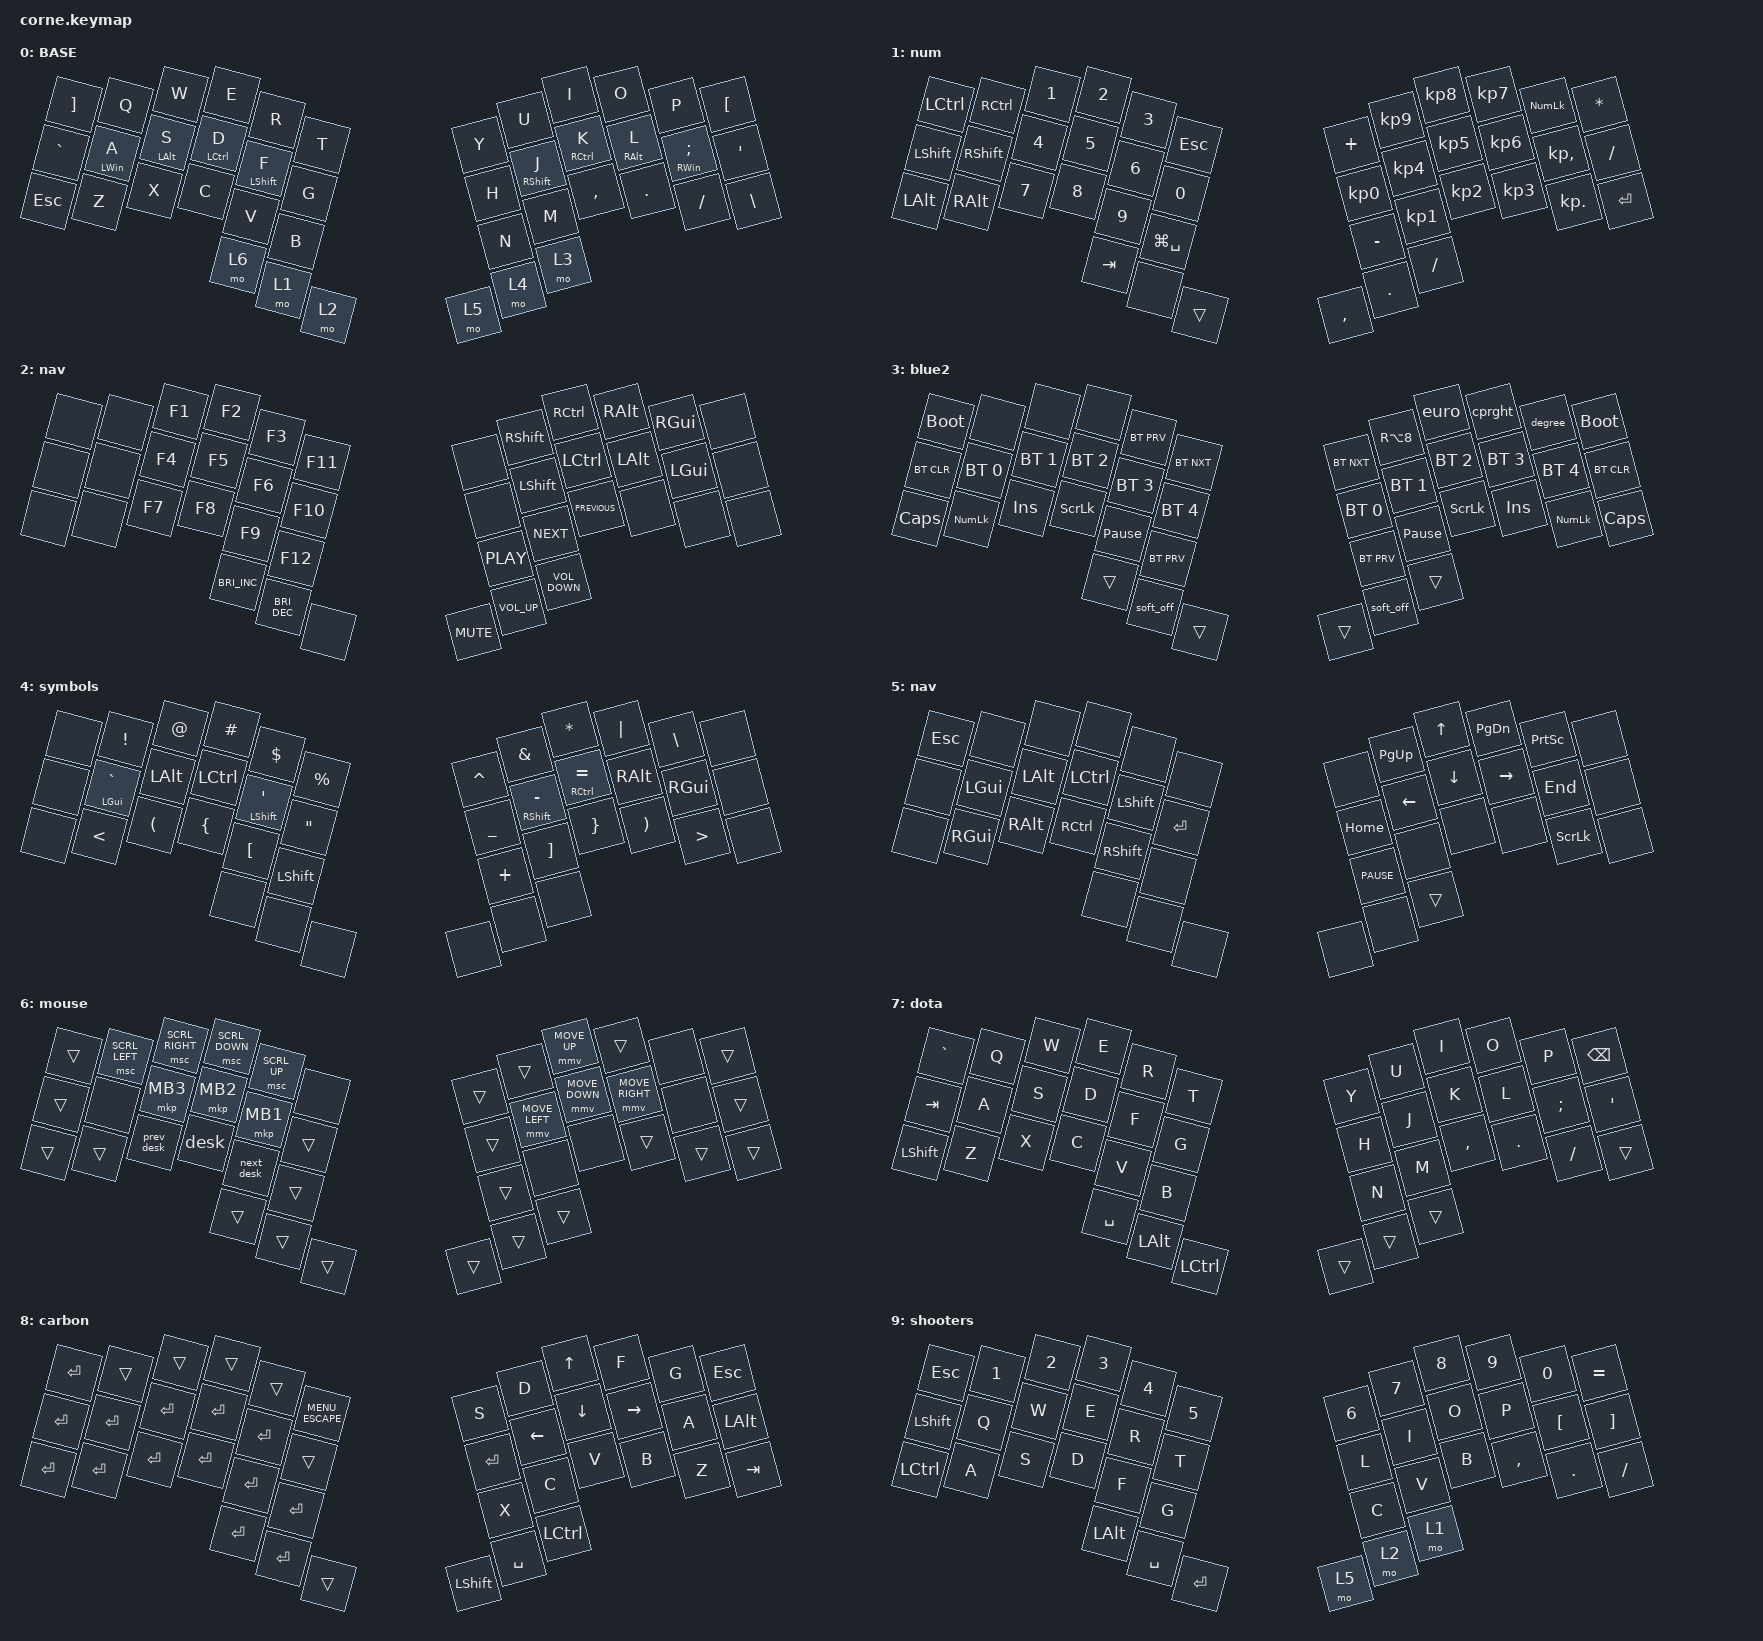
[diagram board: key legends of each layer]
/*
 * Copyright (c) 2020 The ZMK Contributors
 *
 * SPDX-License-Identifier: MIT
 */

#include "mouse.dtsi"
#include <input/processors.dtsi>
#include <dt-bindings/zmk/mouse.h>
#include <behaviors.dtsi>
#include <dt-bindings/zmk/bt.h>
#include <dt-bindings/zmk/keys.h>
#include <dt-bindings/zmk/pointing.h>
#include <dt-bindings/zmk/pointing.h>
#include <dt-bindings/zmk/pointing.h>

#define BASE   0
#define LOWER  1
#define RAISE  2
#define ADJUST 3

&lt { quick_tap_ms = <220>; };

&msc_input_listener { input-processors = <&zip_temp_layer 2 2000>; };

&msc {
    trigger-period-ms = <12>;
    delay-ms = <15>;
    time-to-max-speed-ms = <600>;
    acceleration-exponent = <1>;
};

&mt { quick_tap_ms = <220>; };

/ {
    macros {
        numdot: numdot {
            label = "ZM_numdot";
            compatible = "zmk,behavior-macro";
            #binding-cells = <0>;
            wait-ms = <40>;
            tap-ms = <40>;
            bindings =
                <&macro_press>,
                <&kp LALT>,
                <&macro_tap>,
                <&kp KP_N4 &kp KP_N6>,
                <&macro_release>,
                <&kp LALT>;
        };

        behaviors {
        };

        grtsgn: grtsgn {
            label = "ZM_grtsgn";
            compatible = "zmk,behavior-macro";
            #binding-cells = <0>;
            wait-ms = <40>;
            tap-ms = <40>;
            bindings =
                <&macro_press>,
                <&kp LALT>,
                <&macro_tap>,
                <&kp KP_N6 &kp KP_N2>,
                <&macro_release>,
                <&kp LALT>;
        };

        cprght: cprght {
            label = "ZM_cprght";
            compatible = "zmk,behavior-macro";
            #binding-cells = <0>;
            wait-ms = <40>;
            tap-ms = <40>;
            bindings =
                <&macro_press>,
                <&kp LALT>,
                <&macro_tap>,
                <&kp KP_N0 &kp KP_N1 &kp KP_N6 &kp KP_N9>,
                <&macro_release>,
                <&kp LALT>;
        };

        degree: degree {
            label = "ZM_degree";
            compatible = "zmk,behavior-macro";
            #binding-cells = <0>;
            wait-ms = <40>;
            tap-ms = <40>;
            bindings =
                <&macro_press>,
                <&kp LALT>,
                <&macro_tap>,
                <&kp KP_N0 &kp KP_N1 &kp KP_N7 &kp KP_N6>,
                <&macro_release>,
                <&kp LALT>;
        };

        quote: quote {
            label = "ZM_quote";
            compatible = "zmk,behavior-macro";
            #binding-cells = <0>;
            wait-ms = <40>;
            tap-ms = <40>;
            bindings =
                <&macro_press>,
                <&kp LALT>,
                <&macro_tap>,
                <&kp KP_N3 &kp KP_N4>,
                <&macro_release>,
                <&kp LALT>;
        };

        euro: euro {
            label = "ZM_euro";
            compatible = "zmk,behavior-macro";
            #binding-cells = <0>;
            wait-ms = <40>;
            tap-ms = <40>;
            bindings =
                <&macro_press>,
                <&kp LALT>,
                <&macro_tap>,
                <&kp KP_N0 &kp KP_N1 &kp KP_N2 &kp KP_N8>,
                <&macro_release>,
                <&kp LALT>;
        };

        numcomma: numcomma {
            label = "ZM_numcomma";
            compatible = "zmk,behavior-macro";
            #binding-cells = <0>;
            wait-ms = <40>;
            tap-ms = <40>;
            bindings =
                <&macro_press>,
                <&kp LALT>,
                <&macro_tap>,
                <&kp KP_N4 &kp KP_N4>,
                <&macro_release>,
                <&kp LALT>;
        };

        lguillement: lguillement {
            label = "ZM_lguillement";
            compatible = "zmk,behavior-macro";
            #binding-cells = <0>;
            wait-ms = <40>;
            tap-ms = <40>;
            bindings =
                <&macro_press>,
                <&kp LALT>,
                <&macro_tap>,
                <&kp KP_N0 &kp KP_N1 &kp KP_N7 &kp KP_N1>,
                <&macro_release>,
                <&kp LALT>;
        };

        rguillement: rguillement {
            label = "ZM_rguillement";
            compatible = "zmk,behavior-macro";
            #binding-cells = <0>;
            wait-ms = <40>;
            tap-ms = <40>;
            bindings =
                <&macro_press>,
                <&kp LALT>,
                <&macro_tap>,
                <&kp KP_N0 &kp KP_N1 &kp KP_N8 &kp KP_N7>,
                <&macro_release>,
                <&kp LALT>;
        };

        lbracket: lbracket {
            label = "ZM_lbracket";
            compatible = "zmk,behavior-macro";
            #binding-cells = <0>;
            wait-ms = <40>;
            tap-ms = <40>;
            bindings =
                <&macro_press>,
                <&kp LALT>,
                <&macro_tap>,
                <&kp KP_N1 &kp KP_N2 &kp KP_N3>,
                <&macro_release>,
                <&kp LALT>;
        };

        rbracket: rbracket {
            label = "ZM_rbracket";
            compatible = "zmk,behavior-macro";
            #binding-cells = <0>;
            wait-ms = <40>;
            tap-ms = <40>;
            bindings =
                <&macro_press>,
                <&kp LALT>,
                <&macro_tap>,
                <&kp KP_N1 &kp KP_N2 &kp KP_N5>,
                <&macro_release>,
                <&kp LALT>;
        };

        colon: colon {
            label = "ZM_colon";
            compatible = "zmk,behavior-macro";
            #binding-cells = <0>;
            wait-ms = <40>;
            tap-ms = <40>;
            bindings =
                <&macro_press>,
                <&kp LALT>,
                <&macro_tap>,
                <&kp KP_N5 &kp KP_N8>,
                <&macro_release>,
                <&kp LALT>;
        };

        semicolon: semicolon {
            label = "ZM_semicolon";
            compatible = "zmk,behavior-macro";
            #binding-cells = <0>;
            wait-ms = <40>;
            tap-ms = <40>;
            bindings =
                <&macro_press>,
                <&kp LALT>,
                <&macro_tap>,
                <&kp KP_N5 &kp KP_N9>,
                <&macro_release>,
                <&kp LALT>;
        };

        question: question {
            label = "ZM_question";
            compatible = "zmk,behavior-macro";
            #binding-cells = <0>;
            wait-ms = <40>;
            tap-ms = <40>;
            bindings =
                <&macro_press>,
                <&kp LALT>,
                <&macro_tap>,
                <&kp KP_N6 &kp KP_N3>,
                <&macro_release>,
                <&kp LALT>;
        };

        lsqbracket: lsqbracket {
            label = "ZM_lsqbracket";
            compatible = "zmk,behavior-macro";
            #binding-cells = <0>;
            wait-ms = <40>;
            tap-ms = <40>;
            bindings =
                <&macro_press>,
                <&kp LALT>,
                <&macro_tap>,
                <&kp KP_N9 &kp KP_N1>,
                <&macro_release>,
                <&kp LALT>;
        };

        rsqbracket: rsqbracket {
            label = "ZM_rsqbracket";
            compatible = "zmk,behavior-macro";
            #binding-cells = <0>;
            wait-ms = <40>;
            tap-ms = <40>;
            bindings =
                <&macro_press>,
                <&kp LALT>,
                <&macro_tap>,
                <&kp KP_N9 &kp KP_N3>,
                <&macro_release>,
                <&kp LALT>;
        };

        lang: lang {
            compatible = "zmk,behavior-macro";
            #binding-cells = <0>;
            bindings =
                <&macro_press>,
                <&kp LEFT_WIN>,
                <&macro_tap>,
                <&kp SPACE>,
                <&macro_release>,
                <&kp LEFT_WIN>;

            label = "LANG";
        };

        prev_desk: prev_desk {
            compatible = "zmk,behavior-macro";
            #binding-cells = <0>;
            bindings =
                <&macro_press>,
                <&kp LEFT_WIN &kp LCTRL>,
                <&macro_tap>,
                <&kp LEFT>,
                <&macro_release>,
                <&kp LEFT_WIN &kp LCTRL>;

            label = "PREV_DESK";
        };

        next_desk: next_desk {
            compatible = "zmk,behavior-macro";
            #binding-cells = <0>;
            bindings =
                <&macro_press>,
                <&kp LEFT_WIN &kp LCTRL>,
                <&macro_tap>,
                <&kp RIGHT>,
                <&macro_release>,
                <&kp LEFT_WIN &kp LCTRL>;

            label = "NEXT_DESK";
        };

        desk: desk {
            compatible = "zmk,behavior-macro";
            #binding-cells = <0>;
            bindings =
                <&macro_press>,
                <&kp LEFT_WIN &kp TAB>,
                <&macro_release>,
                <&kp LEFT_WIN &kp TAB>;

            label = "DESK";
        };

        block: block {
            compatible = "zmk,behavior-macro";
            #binding-cells = <0>;
            bindings =
                <&macro_press>,
                <&kp LEFT_WIN &kp L>,
                <&macro_release>,
                <&kp LEFT_WIN &kp L>;

            label = "BLOCK";
        };
    };
};

/ {
    combos {
        compatible = "zmk,combos";

        insert {
            bindings = <&kp INSERT>;
            key-positions = <28 29>;
        };

        caps {
            bindings = <&kp CAPSLOCK>;
            key-positions = <26 28>;
        };

        del {
            bindings = <&kp DELETE>;
            key-positions = <32 33>;
        };

        enter {
            bindings = <&kp ENTER>;
            key-positions = <8 9>;
        };

        tab {
            bindings = <&kp TAB>;
            key-positions = <4 3>;
        };

        space {
            bindings = <&kp SPACE>;
            key-positions = <2 3>;
        };

        bs {
            bindings = <&kp BACKSPACE>;
            key-positions = <31 32>;
        };

        lang {
            bindings = <&lang>;
            key-positions = <26 27>;
        };

        printscreen {
            bindings = <&kp PRINTSCREEN>;
            key-positions = <10 9>;
        };

        dota_shift {
            bindings = <&kp LEFT_SHIFT>;
            key-positions = <28 36>;
            layers = <7>;
        };

        dota_toggle {
            bindings = <&tog 7>;
            key-positions = <5 25>;
        };

        left {
            bindings = <&tog 8>;
            key-positions = <10 6>;
        };

        shooters_toogle {
            bindings = <&tog 9>;
            key-positions = <0 5>;
        };

        carbon {
            bindings = <&tog 8>;
            key-positions = <12 17>;
        };
    };
};

/ {
    keymap {
        compatible = "zmk,keymap";

        // ▄▄▄▄▄▄▄▄▄▄▄▄▄▄▄▄▄▄▄▄▄▄▄▄▄▄▄▄▄▄▄▄▄▄▄▄▄▄▄▄▄▄▄▄▄▄▄▄▄▄▄▄▄▄▄▄▄▄▄▄▄▄▄▄▄▄▄▄▄▄▄▄▄▄▄▄▄▄▄▄▄▄▄▄▄▄▄▄▄▄▄▄▄▄▄▄▄▄▄▄▄▄▄▄▄▄▄▄▄▄▄▄▄▄

        base_layer {
            // ┌────────────────────────────────────────────┐

            label = "BASE";

            // └────────────────────────────────────────────┘
            /*
┌───────┬───────┬───────┬───────┬───────┬───────┐                   ┌───────┬───────┬───────┬───────┬───────┬───────┐
│ LGUI/]│   Q   │   W   │   E   │   R   │   T   │                   │   Y   │   U   │   I   │   O   │   P   │RGUI/[ │
├───────┼───────┼───────┼───────┼───────┼───────┤                   ├───────┼───────┼───────┼───────┼───────┼───────┤                      
│ CTRL/`│   A   │   S   │   D   │   F   │   G   │                   │   H   │   J   │   K   │   L   │   ;   │RCTRL/'│
├───────┼───────┼───────┼───────┼───────┼───────┤                   ├───────┼───────┼───────┼───────┼───────┼───────┤
│ LALT/\│   Z   │   X   │   C   │   V   │   B   │                   │   N   │   M   │   ,   │   .   │   /   │RALT/- │
└───────┴───────┴───────┴───────┼───────┼───────┼───────┐   ┌───────┼───────┼───────┼───────┴───────┴───────┴───────┘
                                │ RAISE │ SPACE │ LOWER │   │ LOWER │  BKSP │ RAISE │
                                └───────┴───────┴───────┘   └───────┴───────┴───────┘   
*/

            bindings = <
&kp RBKT   &kp Q           &kp W           &kp E        &kp R             &kp T    &kp Y  &kp U              &kp I        &kp O            &kp P                    &kp LEFT_BRACKET
&kp GRAVE  &mt LEFT_WIN A  &mt LEFT_ALT S  &mt LCTRL D  &mt LEFT_SHIFT F  &kp G    &kp H  &mt RIGHT_SHIFT J  &mt RCTRL K  &mt RIGHT_ALT L  &mt RIGHT_WIN SEMICOLON  &kp SQT
&kp ESC    &kp Z           &kp X           &kp C        &kp V             &kp B    &kp N  &kp M              &kp COMMA    &kp DOT          &kp FSLH                 &kp BSLH
                                           &mo 6        &mo 1             &mo 2    &mo 5  &mo 4              &mo 3
            >;
        };

        // ▄▄▄▄▄▄▄▄▄▄▄▄▄▄▄▄▄▄▄▄▄▄▄▄▄▄▄▄▄▄▄▄▄▄▄▄▄▄▄▄▄▄▄▄▄▄▄▄▄▄▄▄▄▄▄▄▄▄▄▄▄▄▄▄▄▄▄▄▄▄▄▄▄▄▄▄▄▄▄▄▄▄▄▄▄▄▄▄▄▄▄▄▄▄▄▄▄▄▄▄▄▄▄▄▄▄▄▄▄▄▄▄▄▄

        num_layer {
            // ┌────────────────────────────────────────────┐

            label = "num";

            // └────────────────────────────────────────────┘
            /*
┌───────┬───────┬───────┬───────┬───────┬───────┐                   ┌───────┬───────┬───────┬───────┬───────┬───────┐
│ CAPS  │  F10  │  F9   │  F8   │  F7   │   ~   │                   │   !   │   @   │   #   │   $   │   %   │ RGUI  │
├───────┼───────┼───────┼───────┼───────┼───────┤                   ├───────┼───────┼───────┼───────┼───────┼───────┤                      
│ CTRL  │  F11  │  F3   │  F2   │  F1   │ MENU  │                   │   :   │   ?   │   *   │   (   │   )   │   &   │
├───────┼───────┼───────┼───────┼───────┼───────┤                   ├───────┼───────┼───────┼───────┼───────┼───────┤
│ LALT  │  F12  │  F6   │  F5   │  F4   │ LANG  │                   │   "   │   «   │   »   │   {   │   }   │   ^   │
└───────┴───────┴───────┴───────┼───────┼───────┼───────┐   ┌───────┼───────┼───────┼───────┴───────┴───────┴───────┘
                                │  ADJ  │ LSHFT │   ▼   │   │   ▼   │ RSHFT │  ADJ  │
                                └───────┴───────┴───────┘   └───────┴───────┴───────┘   
*/

            bindings = <
&kp LCTRL  &kp RCTRL  &kp NUMBER_1  &kp NUMBER_2  &kp NUMBER_3  &kp ESCAPE       &kp PLUS         &kp KP_NUMBER_9  &kp KP_N8        &kp KP_N7        &kp KP_NUMLOCK  &kp STAR
&kp LSHFT  &kp RSHFT  &kp NUMBER_4  &kp NUMBER_5  &kp NUMBER_6  &kp NUMBER_0     &kp KP_NUMBER_0  &kp KP_NUMBER_4  &kp KP_N5        &kp KP_NUMBER_6  &kp KP_COMMA    &kp FSLH
&kp LALT   &kp RALT   &kp NUMBER_7  &kp NUMBER_8  &kp NUMBER_9  &kp LG(SPACE)    &kp MINUS        &kp KP_NUMBER_1  &kp KP_NUMBER_2  &kp KP_NUMBER_3  &kp KP_DOT      &kp RET
                                    &kp TAB       &none         &trans           &kp COMMA        &kp DOT          &kp FSLH
            >;
        };

        // ▄▄▄▄▄▄▄▄▄▄▄▄▄▄▄▄▄▄▄▄▄▄▄▄▄▄▄▄▄▄▄▄▄▄▄▄▄▄▄▄▄▄▄▄▄▄▄▄▄▄▄▄▄▄▄▄▄▄▄▄▄▄▄▄▄▄▄▄▄▄▄▄▄▄▄▄▄▄▄▄▄▄▄▄▄▄▄▄▄▄▄▄▄▄▄▄▄▄▄▄▄▄▄▄▄▄▄▄▄▄▄▄▄▄		

        media {
            // ┌────────────────────────────────────────────┐

            label = "nav";

            // └────────────────────────────────────────────┘
            /*
┌───────┬───────┬───────┬───────┬───────┬───────┐                   ┌───────┬───────┬───────┬───────┬───────┬───────┐
│ BKSP  │   *   │   9   │   8   │   7   │   +   │                   │ NEXT  │ HOME  │ PSCRN │ PGUP  │ VOLU  │ RGUI  │
├───────┼───────┼───────┼───────┼───────┼───────┤                   ├───────┼───────┼───────┼───────┼───────┼───────┤                      
│ CTRL  │   /   │   3   │   2   │   1   │   0   │                   │ PLAY  │   ←   │   ↑   │   →   │ VOLD  │ CTRL  │
├───────┼───────┼───────┼───────┼───────┼───────┤                   ├───────┼───────┼───────┼───────┼───────┼───────┤
│ ALT/= │   .   │   6   │   5   │   4   │   -   │                   │ PREV  │  END  │   ↓   │ PGDN  │ MUTE  │ RALT  │
└───────┴───────┴───────┴───────┼───────┼───────┼───────┐   ┌───────┼───────┼───────┼───────┴───────┴───────┴───────┘
                                │   ▲   │ LSHFT │  ADJ  │   │  ADJ  │ RSHFT │   ▲   │
                                └───────┴───────┴───────┘   └───────┴───────┴───────┘  
*/

            bindings = <
&none  &none  &kp F1  &kp F2                &kp F3                &kp F11    &none       &kp RSHFT        &kp RCTRL          &kp RALT  &kp RGUI  &none
&none  &none  &kp F4  &kp F5                &kp F6                &kp F10    &none       &kp LSHFT        &kp LCTRL          &kp LALT  &kp LGUI  &none
&none  &none  &kp F7  &kp F8                &kp F9                &kp F12    &kp C_PLAY  &kp C_NEXT       &kp C_PREVIOUS     &none     &none     &none
                      &kp C_BRIGHTNESS_INC  &kp C_BRIGHTNESS_DEC  &none      &kp K_MUTE  &kp C_VOLUME_UP  &kp C_VOLUME_DOWN
            >;
        };

        // ▄▄▄▄▄▄▄▄▄▄▄▄▄▄▄▄▄▄▄▄▄▄▄▄▄▄▄▄▄▄▄▄▄▄▄▄▄▄▄▄▄▄▄▄▄▄▄▄▄▄▄▄▄▄▄▄▄▄▄▄▄▄▄▄▄▄▄▄▄▄▄▄▄▄▄▄▄▄▄▄▄▄▄▄▄▄▄▄▄▄▄▄▄▄▄▄▄▄▄▄▄▄▄▄▄▄▄▄▄▄▄▄▄▄

        adjust_layer {
            // ┌────────────────────────────────────────────┐

            label = "blue2";

            // └────────────────────────────────────────────┘
            /*
┌───────┬───────┬───────┬───────┬───────┬───────┐                   ┌───────┬───────┬───────┬───────┬───────┬───────┐
│ BLDR  │       │       │       │       │BT NEXT│                   │BT NEXT│   ₽   │   €   │       │       │  BLDR │
├───────┼───────┼───────┼───────┼───────┼───────┤                   ├───────┼───────┼───────┼───────┼───────┼───────┤                      
│ BTCLR │  BT0  │  BT1  │  BT2  │  BT3  │  BT4  │                   │  BT4  │  BT3  │  BT2  │  BT1  │  BT0  │ BTCLR │
├───────┼───────┼───────┼───────┼───────┼───────┤                   ├───────┼───────┼───────┼───────┼───────┼───────┤
│ CAPS  │ NUMLK │  INS  │ SLCK  │ PAUSE │BT PREV│                   │BT PREV│ PAUSE │ SLCK  │  INS  │ NUMLK │ CAPS  │
└───────┴───────┴───────┴───────┼───────┼───────┼───────┐   ┌───────┼───────┼───────┼───────┴───────┴───────┴───────┘
                                │   ▲   │ POWER │   ▼   │   │   ▼   │ POWER │   ▲   │
                                └───────┴───────┴───────┘   └───────┴───────┴───────┘
*/

            bindings = <
&bootloader  &none         &none         &none         &bt BT_PRV       &bt BT_NXT      &bt BT_NXT    &kp RA(N8)       &euro         &cprght       &degree       &bootloader
&bt BT_CLR   &bt BT_SEL 0  &bt BT_SEL 1  &bt BT_SEL 2  &bt BT_SEL 3     &bt BT_SEL 4    &bt BT_SEL 0  &bt BT_SEL 1     &bt BT_SEL 2  &bt BT_SEL 3  &bt BT_SEL 4  &bt BT_CLR
&kp CAPS     &kp KP_NUM    &kp INS       &kp SLCK      &kp PAUSE_BREAK  &bt BT_PRV      &bt BT_PRV    &kp PAUSE_BREAK  &kp SLCK      &kp INS       &kp KP_NUM    &kp CAPS
                                         &trans        &soft_off        &trans          &trans        &soft_off        &trans
            >;
        };

        sym_layer {
            bindings = <
&none  &kp EXCL        &kp AT                &kp HASH        &kp DLLR                &kp PRCNT            &kp CARET  &kp AMPS           &kp STAR         &kp PIPE               &kp BACKSLASH  &none
&none  &mt LGUI GRAVE  &kp LALT              &kp LCTRL       &mt LSHFT SINGLE_QUOTE  &kp DOUBLE_QUOTES    &kp UNDER  &mt RSHFT MINUS    &mt RCTRL EQUAL  &kp RALT               &kp RGUI       &none
&none  &kp LT          &kp LEFT_PARENTHESIS  &kp LEFT_BRACE  &kp LEFT_BRACKET        &kp LSHFT            &kp PLUS   &kp RIGHT_BRACKET  &kp RIGHT_BRACE  &kp RIGHT_PARENTHESIS  &kp GT         &none
                                             &none           &none                   &none                &none      &none              &none
            >;

            label = "symbols";
        };

        nav {
            label = "nav";
            bindings = <
&kp ESCAPE  &none     &none     &none      &none      &none        &none        &kp PG_UP  &kp UP_ARROW    &kp PG_DN  &kp PRINTSCREEN  &none
&none       &kp LGUI  &kp LALT  &kp LCTRL  &kp LSHFT  &kp ENTER    &kp HOME     &kp LEFT   &kp DOWN_ARROW  &kp RIGHT  &kp END          &none
&none       &kp RGUI  &kp RALT  &kp RCTRL  &kp RSHFT  &none        &kp C_PAUSE  &none      &none           &none      &kp SCROLLLOCK   &none
                                &none      &none      &none        &none        &none      &trans
            >;
        };

        mouse {
            bindings = <
&trans  &msc SCRL_LEFT  &msc SCRL_RIGHT  &msc SCRL_DOWN  &msc SCRL_UP  &none     &trans  &trans          &mmv MOVE_UP    &trans           &none   &trans
&trans  &none           &mkp MB3         &mkp MB2        &mkp MB1      &trans    &trans  &mmv MOVE_LEFT  &mmv MOVE_DOWN  &mmv MOVE_RIGHT  &none   &trans
&trans  &trans          &prev_desk       &desk           &next_desk    &trans    &trans  &none           &none           &trans           &trans  &trans
                                         &trans          &trans        &trans    &trans  &trans          &trans
            >;

            label = "mouse";
        };

        dota {
            bindings = <
&kp GRAVE  &kp Q  &kp W  &kp E      &kp R     &kp T        &kp Y   &kp U   &kp I      &kp O    &kp P     &kp BSPC
&kp TAB    &kp A  &kp S  &kp D      &kp F     &kp G        &kp H   &kp J   &kp K      &kp L    &kp SEMI  &kp APOS
&kp LSHFT  &kp Z  &kp X  &kp C      &kp V     &kp B        &kp N   &kp M   &kp COMMA  &kp DOT  &kp FSLH  &trans
                         &kp SPACE  &kp LALT  &kp LCTRL    &trans  &trans  &trans
            >;

            label = "dota";
        };

        carbon {
            bindings = <
&kp ENTER  &trans     &trans     &trans     &trans     &kp C_MENU_ESCAPE    &kp S      &kp D      &kp UP     &kp F      &kp G  &kp ESCAPE
&kp ENTER  &kp ENTER  &kp ENTER  &kp ENTER  &kp RET    &trans               &kp RET    &kp LEFT   &kp DOWN   &kp RIGHT  &kp A  &kp LALT
&kp ENTER  &kp ENTER  &kp ENTER  &kp ENTER  &kp ENTER  &kp ENTER            &kp X      &kp C      &kp V      &kp B      &kp Z  &kp TAB
                                 &kp ENTER  &kp ENTER  &trans               &kp LSHFT  &kp SPACE  &kp LCTRL
            >;

            label = "carbon";
        };

        shooters {
            bindings = <
&kp ESC    &kp N1  &kp N2  &kp N3    &kp N4     &kp N5     &kp N6  &kp N7  &kp N8  &kp N9     &kp N0    &kp EQUAL
&kp LSHFT  &kp Q   &kp W   &kp E     &kp R      &kp T      &kp L   &kp I   &kp O   &kp P      &kp LBKT  &kp RBKT
&kp LCTRL  &kp A   &kp S   &kp D     &kp F      &kp G      &kp C   &kp V   &kp B   &kp COMMA  &kp DOT   &kp FSLH
                           &kp LALT  &kp SPACE  &kp RET    &mo 5   &mo 2   &mo 1
            >;

            label = "shooters";
        };
    };
};
